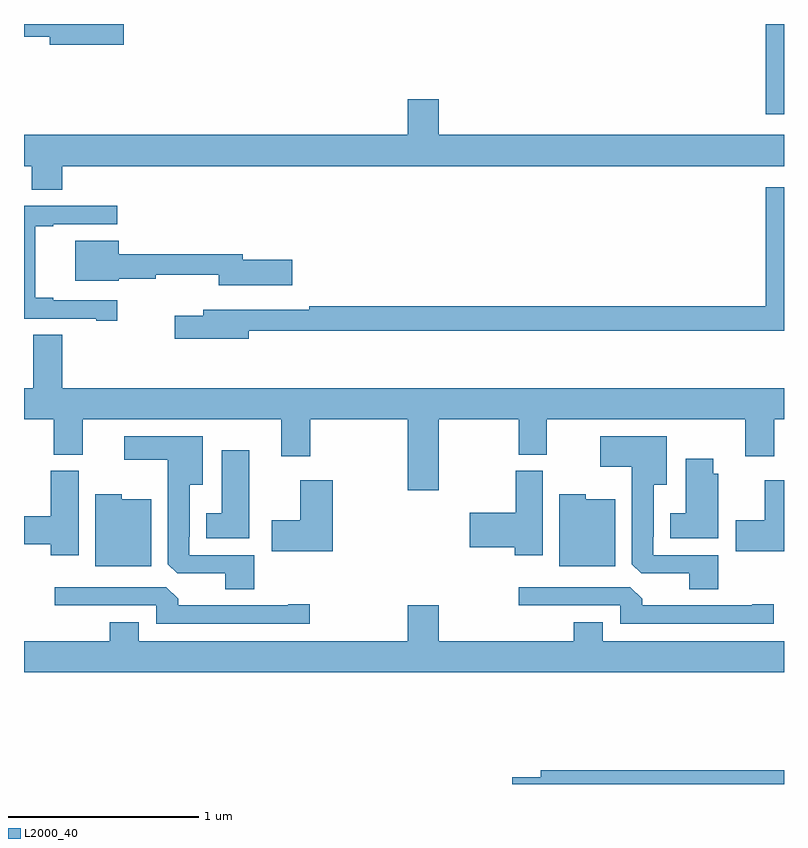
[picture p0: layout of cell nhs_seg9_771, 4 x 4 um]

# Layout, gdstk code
import gdstk
lib = gdstk.Library(unit=1e-6, precision=1e-09)
def R(c, l, rs):  # rectangles x0, y0, x1, y1
    for r in rs: c.add(gdstk.rectangle(r[:2], r[2:], *l))
def P(c, l, *ps):  # polygons
    for p in ps: c.add(gdstk.Polygon(p, *l))
L2000_40 = (2000, 40)

nhs_seg9_771 = lib.new_cell('nhs_seg9_771')
R(nhs_seg9_771, L2000_40, [(154.903,1198.026,155,1198.5)])
P(nhs_seg9_771, L2000_40, [(151.525,1198.5),(151,1198.5),(151,1198.432),(151.136,1198.432),(151.136,1198.39),(151.525,1198.39)],
  [(151.202,1197.752),(155,1197.752),(155,1197.916),(153.184,1197.916),(153.184,1198.105),(153.02,1198.105),(153.02,1197.916),(151,1197.916),(151,1197.752),(151.042,1197.752),(151.042,1197.628),(151.202,1197.628)],
  [(152.182,1196.886),(155,1196.886),(155,1197.642),(154.903,1197.642),(154.903,1197.014),(152.5,1197.014),(152.5,1196.995),(151.943,1196.995),(151.943,1196.965),(151.794,1196.965),(151.794,1196.843),(152.182,1196.843)],
  [(151.492,1197.045),(151.153,1197.045),(151.153,1197.058),(151.058,1197.058),(151.058,1197.435),(151.153,1197.435),(151.153,1197.447),(151.492,1197.447),(151.492,1197.543),(151,1197.543),(151,1196.949),(151.379,1196.949),(151.379,1196.937),(151.492,1196.937)],
  [(152.413,1197.26),(152.152,1197.26),(152.152,1197.289),(151.498,1197.289),(151.498,1197.358),(151.271,1197.358),(151.271,1197.149),(151.498,1197.149),(151.498,1197.16),(151.694,1197.16),(151.694,1197.179),(152.024,1197.179),(152.024,1197.125),(152.413,1197.125)],
  [(151.202,1196.864),(151.049,1196.864),(151.049,1196.584),(151,1196.584),(151,1196.42),(151.157,1196.42),(151.157,1196.233),(151.309,1196.233),(151.309,1196.42),(152.354,1196.42),(152.354,1196.226),(152.507,1196.226),(152.507,1196.42),(153.02,1196.42),(153.02,1196.046),(153.184,1196.046),(153.184,1196.42),(153.604,1196.42),(153.604,1196.233),(153.751,1196.233),(153.751,1196.42),(154.796,1196.42),(154.796,1196.226),(154.949,1196.226),(154.949,1196.42),(155,1196.42),(155,1196.584),(151.202,1196.584)],
  [(154.655,1195.704),(154.311,1195.704),(154.311,1195.801),(154.315,1195.801),(154.315,1196.075),(154.384,1196.075),(154.384,1196.329),(154.032,1196.329),(154.032,1196.171),(154.199,1196.171),(154.199,1195.657),(154.248,1195.608),(154.502,1195.608),(154.502,1195.525),(154.655,1195.525)],
  [(152.213,1195.704),(151.869,1195.704),(151.869,1195.801),(151.873,1195.801),(151.873,1196.075),(151.942,1196.075),(151.942,1196.329),(151.527,1196.329),(151.527,1196.207),(151.757,1196.207),(151.757,1195.657),(151.806,1195.608),(152.06,1195.608),(152.06,1195.525),(152.213,1195.525)],
  [(152.185,1196.257),(152.042,1196.257),(152.042,1195.924),(151.958,1195.924),(151.958,1195.793),(152.185,1195.793)],
  [(154.654,1196.133),(154.627,1196.133),(154.627,1196.212),(154.484,1196.212),(154.484,1195.924),(154.4,1195.924),(154.4,1195.793),(154.654,1195.793)],
  [(153.73,1196.148),(153.589,1196.148),(153.589,1195.928),(153.345,1195.928),(153.345,1195.745),(153.584,1195.745),(153.584,1195.704),(153.73,1195.704)],
  [(151.288,1196.148),(151.142,1196.148),(151.142,1195.91),(151,1195.91),(151,1195.763),(151.142,1195.763),(151.142,1195.704),(151.288,1195.704)],
  [(155,1196.098),(154.898,1196.098),(154.898,1195.887),(154.746,1195.887),(154.746,1195.724),(155,1195.724)],
  [(152.624,1196.098),(152.453,1196.098),(152.453,1195.887),(152.304,1195.887),(152.304,1195.724),(152.624,1195.724)],
  [(151.669,1195.999),(151.515,1195.999),(151.515,1196.026),(151.376,1196.026),(151.376,1195.646),(151.669,1195.646)],
  [(154.111,1195.999),(153.957,1195.999),(153.957,1196.026),(153.818,1196.026),(153.818,1195.646),(154.111,1195.646)],
  [(152.503,1195.445),(152.39,1195.445),(152.39,1195.44),(151.811,1195.44),(151.811,1195.474),(151.749,1195.536),(151.161,1195.536),(151.161,1195.44),(151.695,1195.44),(151.695,1195.344),(152.503,1195.344)],
  [(154.945,1195.445),(154.832,1195.445),(154.832,1195.44),(154.253,1195.44),(154.253,1195.474),(154.191,1195.536),(153.603,1195.536),(153.603,1195.44),(154.137,1195.44),(154.137,1195.344),(154.945,1195.344)],
  [(155,1195.252),(154.045,1195.252),(154.045,1195.351),(153.893,1195.351),(153.893,1195.252),(153.184,1195.252),(153.184,1195.441),(153.02,1195.441),(153.02,1195.252),(151.603,1195.252),(151.603,1195.351),(151.451,1195.351),(151.451,1195.252),(151,1195.252),(151,1195.088),(155,1195.088)],
  [(155,1194.572),(153.719,1194.572),(153.719,1194.536),(153.57,1194.536),(153.57,1194.5),(155,1194.5)])

lib.write_gds('nhs_seg9_771.gds')
